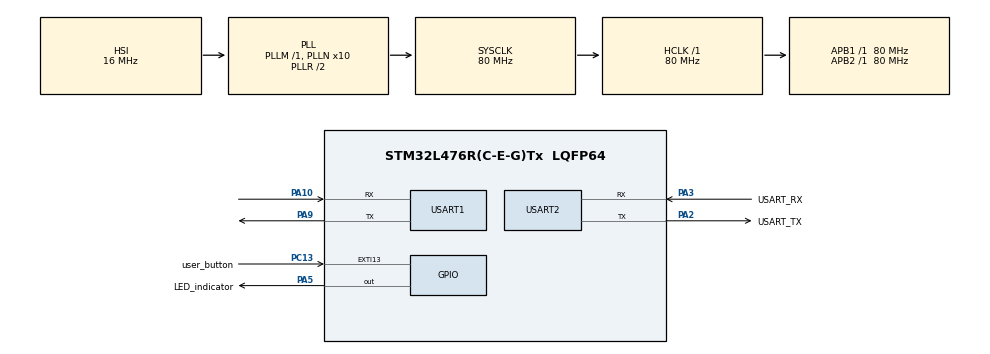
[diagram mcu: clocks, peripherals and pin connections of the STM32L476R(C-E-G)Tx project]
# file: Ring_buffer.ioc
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Mcu.Family=STM32L4
Mcu.Name=STM32L476R(C-E-G)Tx
Mcu.Package=LQFP64
NVIC.PriorityGroup=NVIC_PRIORITYGROUP_4
NVIC.USART1_IRQn=true\:0\:0\:false\:false\:true\:true\:true\:true
NVIC.USART2_IRQn=true\:0\:0\:false\:false\:true\:true\:true\:true
PA10.Mode=Asynchronous
PA10.Signal=USART1_RX
PA13\ (JTMS-SWDIO).GPIO_Label=TMS
PA13\ (JTMS-SWDIO).Mode=Serial_Wire
PA13\ (JTMS-SWDIO).Signal=SYS_JTMS-SWDIO
PA14\ (JTCK-SWCLK).GPIO_Label=TCK
PA14\ (JTCK-SWCLK).Mode=Serial_Wire
PA14\ (JTCK-SWCLK).Signal=SYS_JTCK-SWCLK
PA2.GPIO_Label=USART_TX
PA2.GPIO_Mode=GPIO_MODE_AF_PP
PA2.GPIO_PuPd=GPIO_NOPULL
PA2.GPIO_Speed=GPIO_SPEED_FREQ_VERY_HIGH
PA2.Mode=Asynchronous
PA2.Signal=USART2_TX
PA3.GPIO_Label=USART_RX
PA3.GPIO_Mode=GPIO_MODE_AF_PP
PA3.GPIO_PuPd=GPIO_NOPULL
PA3.GPIO_Speed=GPIO_SPEED_FREQ_VERY_HIGH
PA3.Mode=Asynchronous
PA3.Signal=USART2_RX
PA5.GPIO_Label=LED_indicator
PA5.GPIO_ModeDefaultOutputPP=GPIO_MODE_OUTPUT_PP
PA5.GPIO_PuPd=GPIO_NOPULL
PA5.GPIO_Speed=GPIO_SPEED_FREQ_LOW
PA5.Signal=GPIO_Output
PA9.Mode=Asynchronous
PA9.Signal=USART1_TX
PB3\ (JTDO-TRACESWO).GPIO_Label=SWO
PB3\ (JTDO-TRACESWO).Signal=SYS_JTDO-SWO
PC13.GPIO_Label=user_button
PC13.GPIO_ModeDefaultEXTI=GPIO_MODE_IT_FALLING
PC13.GPIO_PuPd=GPIO_NOPULL
PC13.Signal=GPXTI13
PC14-OSC32_IN\ (PC14).Mode=LSE-External-Oscillator
PC14-OSC32_IN\ (PC14).Signal=RCC_OSC32_IN
PC15-OSC32_OUT\ (PC15).Mode=LSE-External-Oscillator
PC15-OSC32_OUT\ (PC15).Signal=RCC_OSC32_OUT
PH0-OSC_IN\ (PH0).Signal=RCC_OSC_IN
PH1-OSC_OUT\ (PH1).Signal=RCC_OSC_OUT
ProjectManager.HeapSize=0x200
ProjectManager.StackSize=0x400
ProjectManager.TargetToolchain=STM32CubeIDE
RCC.ADCFreq_Value=64000000
RCC.AHBFreq_Value=80000000
RCC.APB1Freq_Value=80000000
RCC.APB1TimFreq_Value=80000000
RCC.APB2Freq_Value=80000000
RCC.APB2TimFreq_Value=80000000
RCC.CortexFreq_Value=80000000
RCC.HCLKFreq_Value=80000000
RCC.HSE_VALUE=8000000
RCC.HSI_VALUE=16000000
RCC.MSI_VALUE=4000000
RCC.PLLN=10
RCC.PLLSourceVirtual=RCC_PLLSOURCE_HSI
RCC.PREFETCH_ENABLE=1
RCC.SYSCLKFreq_VALUE=80000000
RCC.SYSCLKSource=RCC_SYSCLKSOURCE_PLLCLK
RCC.USBFreq_Value=64000000
RCC.VCOOutputFreq_Value=160000000
USART1.VirtualMode-Asynchronous=VM_ASYNC
USART2.VirtualMode-Asynchronous=VM_ASYNC
board=NUCLEO-L476RG

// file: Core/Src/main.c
/* USER CODE BEGIN Header */
/**
  ******************************************************************************
  * @file           : main.c
  * @brief          : Main program body
  ******************************************************************************
  * @attention
  *
  * Copyright (c) 2024 STMicroelectronics.
  * All rights reserved.
  *
  * This software is licensed under terms that can be found in the LICENSE file
  * in the root directory of this software component.
  * If no LICENSE file comes with this software, it is provided AS-IS.
  *
  ******************************************************************************
  */
/* USER CODE END Header */
#include "main.h"

UART_HandleTypeDef huart1;
UART_HandleTypeDef huart2;

/* USER CODE BEGIN PV */
uint32_t left_toggles = 0;
uint32_t left_last_press_tick = 0;

uint8_t data;

/* control variables for ring buffer in USART1*/
#define CAPACITY_USART1 10
uint8_t mem_usart1[CAPACITY_USART1];
ring_buffer_t rb_usart1;

/* control variables for ring buffer in USART2*/
#define CAPACITY_USART2 10
uint8_t mem_usart2[CAPACITY_USART2];
ring_buffer_t rb_usart2;

/* USER CODE END PV */

void SystemClock_Config(void);
static void MX_GPIO_Init(void);
static void MX_USART2_UART_Init(void);
static void MX_USART1_UART_Init(void);

/* USER CODE BEGIN 0 */
void HAL_UART_RxCpltCallback(UART_HandleTypeDef *huart)
{
  /* Data received in USART1 */
  if (huart->Instance == USART1) {
	  ring_buffer_write(&rb_usart1, data);
	  HAL_UART_Receive_IT(&huart1, &data, 1);
  }
  /* Data received in USART2 */
  if (huart->Instance == USART2) {
	  ring_buffer_write(&rb_usart2, data); // put the data received in buffer
	  HAL_UART_Receive_IT(&huart2, &data, 1); // enable interrupt to continue receiving
  }
}
/* USER CODE END 0 */

int main(void)
{

  /* MCU Configuration--------------------------------------------------------*/

  /* Reset of all peripherals, Initializes the Flash interface and the Systick. */
  HAL_Init();

  /* Configure the system clock */
  SystemClock_Config();

  /* Initialize all configured peripherals */
  MX_GPIO_Init();
  MX_USART2_UART_Init();
  MX_USART1_UART_Init();
  /* USER CODE BEGIN 2 */
  /* Initialize ring buffer (control, memory, and capacity) */
  ring_buffer_init(&rb_usart2, mem_usart2, CAPACITY_USART2);
  ring_buffer_init(&rb_usart2, mem_usart2, CAPACITY_USART2);
  /* USER CODE END 2 */

  /* Infinite loop */
  /* USER CODE BEGIN WHILE */
    /* Enable USART Rx interrupt to start receiving */
  HAL_UART_Receive_IT(&huart2, &data, 1);
  HAL_UART_Receive_IT(&huart1, &data, 1);
  while (1)
  {
	  uint8_t byte = 0;
	  if (ring_buffer_is_full(&rb_usart2) != 0) {
		  int8_t id_incorrect = 0;
		  char my_id[] = "1053821948";
		  for (uint8_t idx = 0; idx < sizeof(my_id); idx++) {
			  if (ring_buffer_read(&rb_usart2, &byte) != 0) { // 0x20
				  if (byte != my_id[idx]) {
					  id_incorrect = 1;
				  }
			  }
		  }
		  if (id_incorrect == 0) {
			  HAL_UART_Transmit(&huart2, "Sam C\r\n", 7, 10);
		  } else {
			  HAL_UART_Transmit(&huart2, "Error\r\n", 7, 10);
		  }
	  }
    /* USER CODE END WHILE */

  }
}

void SystemClock_Config(void)
{
  RCC_OscInitTypeDef RCC_OscInitStruct = {0};
  RCC_ClkInitTypeDef RCC_ClkInitStruct = {0};

  /** Configure the main internal regulator output voltage
  */
  if (HAL_PWREx_ControlVoltageScaling(PWR_REGULATOR_VOLTAGE_SCALE1) != HAL_OK)
  {
    Error_Handler();
  }

  /** Initializes the RCC Oscillators according to the specified parameters
  * in the RCC_OscInitTypeDef structure.
  */
  RCC_OscInitStruct.OscillatorType = RCC_OSCILLATORTYPE_HSI;
  RCC_OscInitStruct.HSIState = RCC_HSI_ON;
  RCC_OscInitStruct.HSICalibrationValue = RCC_HSICALIBRATION_DEFAULT;
  RCC_OscInitStruct.PLL.PLLState = RCC_PLL_ON;
  RCC_OscInitStruct.PLL.PLLSource = RCC_PLLSOURCE_HSI;
  RCC_OscInitStruct.PLL.PLLM = 1;
  RCC_OscInitStruct.PLL.PLLN = 10;
  RCC_OscInitStruct.PLL.PLLP = RCC_PLLP_DIV7;
  RCC_OscInitStruct.PLL.PLLQ = RCC_PLLQ_DIV2;
  RCC_OscInitStruct.PLL.PLLR = RCC_PLLR_DIV2;
  if (HAL_RCC_OscConfig(&RCC_OscInitStruct) != HAL_OK)
  {
    Error_Handler();
  }

  /** Initializes the CPU, AHB and APB buses clocks
  */
  RCC_ClkInitStruct.ClockType = RCC_CLOCKTYPE_HCLK|RCC_CLOCKTYPE_SYSCLK
                              |RCC_CLOCKTYPE_PCLK1|RCC_CLOCKTYPE_PCLK2;
  RCC_ClkInitStruct.SYSCLKSource = RCC_SYSCLKSOURCE_PLLCLK;
  RCC_ClkInitStruct.AHBCLKDivider = RCC_SYSCLK_DIV1;
  RCC_ClkInitStruct.APB1CLKDivider = RCC_HCLK_DIV1;
  RCC_ClkInitStruct.APB2CLKDivider = RCC_HCLK_DIV1;

  if (HAL_RCC_ClockConfig(&RCC_ClkInitStruct, FLASH_LATENCY_4) != HAL_OK)
  {
    Error_Handler();
  }
}

static void MX_USART1_UART_Init(void)
{

  huart1.Instance = USART1;
  huart1.Init.BaudRate = 115200;
  huart1.Init.WordLength = UART_WORDLENGTH_8B;
  huart1.Init.StopBits = UART_STOPBITS_1;
  huart1.Init.Parity = UART_PARITY_NONE;
  huart1.Init.Mode = UART_MODE_TX_RX;
  huart1.Init.HwFlowCtl = UART_HWCONTROL_NONE;
  huart1.Init.OverSampling = UART_OVERSAMPLING_16;
  huart1.Init.OneBitSampling = UART_ONE_BIT_SAMPLE_DISABLE;
  huart1.AdvancedInit.AdvFeatureInit = UART_ADVFEATURE_NO_INIT;
  if (HAL_UART_Init(&huart1) != HAL_OK)
  {
    Error_Handler();
  }

}

static void MX_USART2_UART_Init(void)
{

  huart2.Instance = USART2;
  huart2.Init.BaudRate = 115200;
  huart2.Init.WordLength = UART_WORDLENGTH_8B;
  huart2.Init.StopBits = UART_STOPBITS_1;
  huart2.Init.Parity = UART_PARITY_NONE;
  huart2.Init.Mode = UART_MODE_TX_RX;
  huart2.Init.HwFlowCtl = UART_HWCONTROL_NONE;
  huart2.Init.OverSampling = UART_OVERSAMPLING_16;
  huart2.Init.OneBitSampling = UART_ONE_BIT_SAMPLE_DISABLE;
  huart2.AdvancedInit.AdvFeatureInit = UART_ADVFEATURE_NO_INIT;
  if (HAL_UART_Init(&huart2) != HAL_OK)
  {
    Error_Handler();
  }

}

static void MX_GPIO_Init(void)
{
  GPIO_InitTypeDef GPIO_InitStruct = {0};

  /* GPIO Ports Clock Enable */
  __HAL_RCC_GPIOC_CLK_ENABLE();
  __HAL_RCC_GPIOH_CLK_ENABLE();
  __HAL_RCC_GPIOA_CLK_ENABLE();
  __HAL_RCC_GPIOB_CLK_ENABLE();

  /*Configure GPIO pin Output Level */
  HAL_GPIO_WritePin(LED_indicator_GPIO_Port, LED_indicator_Pin, GPIO_PIN_RESET);

  /*Configure GPIO pin : user_button_Pin */
  GPIO_InitStruct.Pin = user_button_Pin;
  GPIO_InitStruct.Mode = GPIO_MODE_IT_FALLING;
  GPIO_InitStruct.Pull = GPIO_NOPULL;
  HAL_GPIO_Init(user_button_GPIO_Port, &GPIO_InitStruct);

  /*Configure GPIO pin : LED_indicator_Pin */
  GPIO_InitStruct.Pin = LED_indicator_Pin;
  GPIO_InitStruct.Mode = GPIO_MODE_OUTPUT_PP;
  GPIO_InitStruct.Pull = GPIO_NOPULL;
  GPIO_InitStruct.Speed = GPIO_SPEED_FREQ_LOW;
  HAL_GPIO_Init(LED_indicator_GPIO_Port, &GPIO_InitStruct);

}

void Error_Handler(void)
{
  __disable_irq();
  while (1)
  {
  }
}
